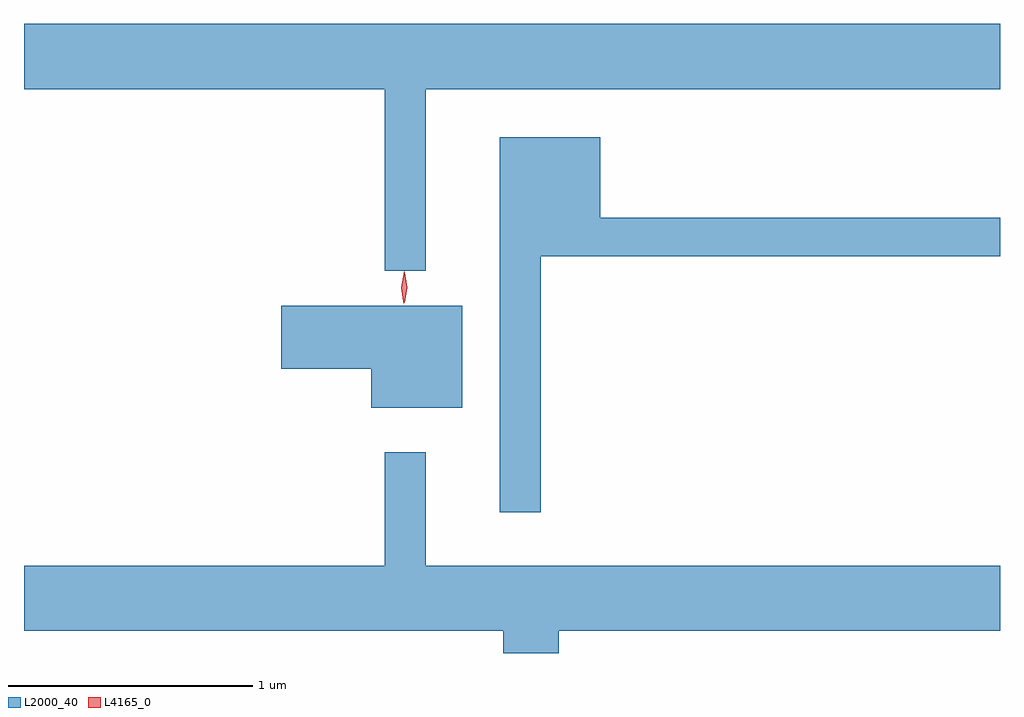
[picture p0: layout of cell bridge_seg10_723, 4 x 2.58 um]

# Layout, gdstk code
import gdstk
lib = gdstk.Library(unit=1e-6, precision=1e-09)
def P(c, l, *ps):  # polygons
    for p in ps: c.add(gdstk.Polygon(p, *l))
L2000_40 = (2000, 40)
L4165_0 = (4165, 0)

bridge_seg10_723 = lib.new_cell('bridge_seg10_723')
P(bridge_seg10_723, L2000_40, [(617.709,2180.516),(620.062,2180.516),(620.062,2180.784),(616.062,2180.784),(616.062,2180.516),(617.541,2180.516),(617.541,2179.773),(617.709,2179.773)],
  [(618.179,2179.831),(620.062,2179.831),(620.062,2179.989),(618.424,2179.989),(618.424,2180.319),(618.011,2180.319),(618.011,2178.783),(618.179,2178.783)],
  [(617.859,2179.629),(617.116,2179.629),(617.116,2179.371),(617.486,2179.371),(617.486,2179.211),(617.859,2179.211)],
  [(618.254,2178.296),(620.062,2178.296),(620.062,2178.564),(617.709,2178.564),(617.709,2179.028),(617.541,2179.028),(617.541,2178.564),(616.062,2178.564),(616.062,2178.296),(618.026,2178.296),(618.026,2178.205),(618.254,2178.205)])
P(bridge_seg10_723, L4165_0, [(617.618,2179.634),(617.618,2179.634),(617.609,2179.702),(617.62,2179.77),(617.62,2179.77),(617.62,2179.77),(617.629,2179.702),(617.619,2179.634)],
  [(617.622,2179.64),(617.622,2179.64),(617.612,2179.704),(617.622,2179.766),(617.622,2179.767),(617.623,2179.766),(617.632,2179.704),(617.623,2179.64)])

lib.write_gds('bridge_seg10_723.gds')
